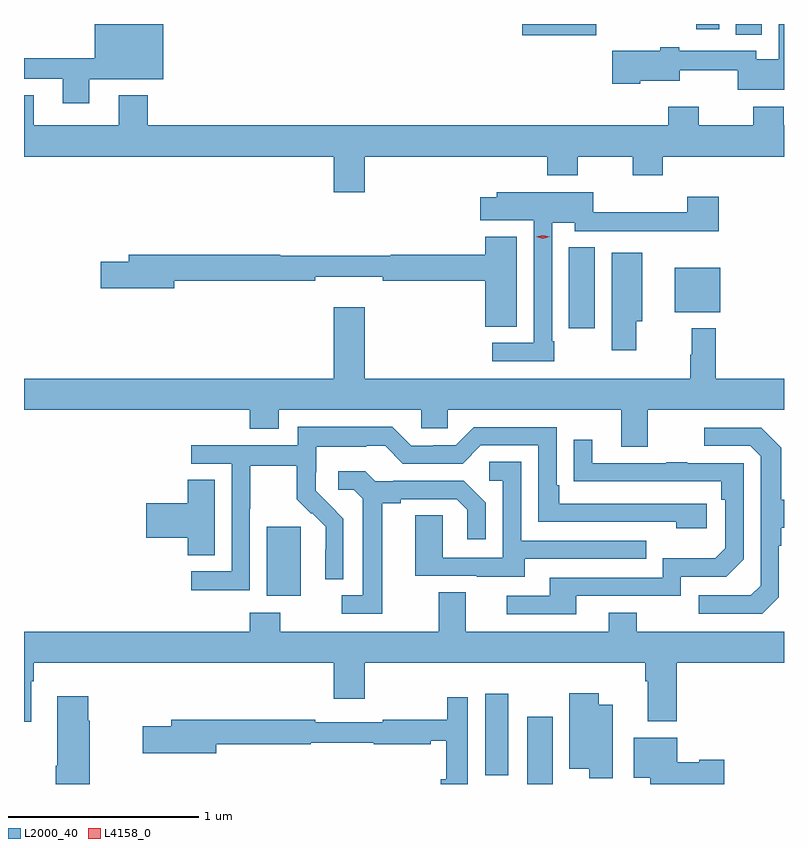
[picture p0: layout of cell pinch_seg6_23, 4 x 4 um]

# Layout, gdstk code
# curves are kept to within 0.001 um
import gdstk
lib = gdstk.Library(unit=1e-6, precision=1e-09)
def R(c, l, rs):  # rectangles x0, y0, x1, y1
    for r in rs: c.add(gdstk.rectangle(r[:2], r[2:], *l))
def P(c, l, *ps):  # polygons
    for p in ps: c.add(gdstk.Polygon(p, *l))
L2000_40 = (2000, 40)
L4158_0 = (4158, 0)

pinch_seg6_23 = lib.new_cell('pinch_seg6_23')
R(pinch_seg6_23, L2000_40, [(957.236,962.682,957.37,963.037), (957.014,962.727,957.136,963.157), (955.865,963.674,956.044,964.035), (957.455,965.082,957.592,965.507), (958.013,965.165,958.252,965.398), (957.21,966.622,957.598,966.682), (958.334,966.625,958.471,966.682), (958.124,966.654,958.246,966.682)])
P(pinch_seg6_23, L2000_40, [(958.587,966.682),(958.56,966.682),(958.56,966.496),(958.44,966.496),(958.44,966.54),(958.035,966.54),(958.035,966.56),(957.935,966.56),(957.935,966.541),(957.683,966.541),(957.683,966.368),(957.831,966.368),(957.831,966.383),(958.039,966.383),(958.039,966.439),(958.344,966.439),(958.344,966.335),(958.587,966.335)],
  [(954.931,966.392),(955.321,966.392),(955.321,966.682),(954.959,966.682),(954.959,966.502),(954.587,966.502),(954.587,966.393),(954.791,966.393),(954.791,966.264),(954.931,966.264)],
  [(955.085,966.307),(955.085,966.148),(954.637,966.148),(954.637,966.308),(954.587,966.308),(954.587,965.984),(956.216,965.984),(956.216,965.796),(956.38,965.796),(956.38,965.984),(957.341,965.984),(957.341,965.885),(957.501,965.885),(957.501,965.984),(957.79,965.984),(957.79,965.885),(957.95,965.885),(957.95,965.984),(958.587,965.984),(958.587,966.148),(958.586,966.148),(958.586,966.247),(958.426,966.247),(958.426,966.148),(958.137,966.148),(958.137,966.247),(957.977,966.247),(957.977,966.148),(955.238,966.148),(955.238,966.307)],
  [(957.379,965.011),(957.366,965.011),(957.366,965.636),(957.486,965.636),(957.486,965.592),(957.995,965.592),(957.995,965.591),(958.244,965.591),(958.244,965.773),(958.079,965.773),(958.079,965.69),(957.582,965.69),(957.582,965.797),(957.075,965.797),(957.075,965.77),(956.988,965.77),(956.988,965.648),(957.27,965.648),(957.27,965.004),(957.051,965.004),(957.051,964.908),(957.379,964.908)],
  [(957.181,965.563),(957.014,965.563),(957.014,965.468),(956.518,965.468),(956.518,965.461),(955.935,965.461),(955.935,965.468),(955.139,965.468),(955.139,965.432),(954.99,965.432),(954.99,965.29),(955.378,965.29),(955.378,965.332),(956.12,965.332),(956.12,965.351),(956.476,965.351),(956.476,965.332),(957.014,965.332),(957.014,965.089),(957.181,965.089)],
  [(957.81,965.117),(957.841,965.117),(957.841,965.479),(957.68,965.479),(957.68,964.965),(957.81,964.965)],
  [(957.871,964.652),(958.587,964.652),(958.587,964.816),(958.229,964.816),(958.229,965.08),(958.101,965.08),(958.101,964.94),(958.093,964.94),(958.093,964.816),(956.38,964.816),(956.38,965.191),(956.216,965.191),(956.216,964.816),(954.587,964.816),(954.587,964.652),(955.775,964.652),(955.775,964.553),(955.927,964.553),(955.927,964.652),(956.679,964.652),(956.679,964.554),(956.817,964.554),(956.817,964.652),(957.731,964.652),(957.731,964.458),(957.871,964.458)],
  [(955.776,964.132),(955.779,964.132),(955.779,964.356),(956.023,964.356),(956.023,964.181),(956.1,964.104),(956.103,964.107),(956.174,964.037),(956.174,963.914),(956.172,963.914),(956.172,963.76),(956.268,963.76),(956.268,964.078),(956.122,964.226),(956.122,964.323),(956.124,964.323),(956.124,964.457),(956.387,964.457),(956.387,964.461),(956.487,964.461),(956.58,964.368),(956.895,964.368),(956.991,964.464),(957.294,964.464),(957.294,964.062),(958.019,964.062),(958.019,964.028),(958.18,964.028),(958.18,964.158),(957.403,964.158),(957.403,964.255),(957.39,964.255),(957.39,964.56),(956.955,964.56),(956.859,964.464),(956.741,964.464),(956.741,964.461),(956.625,964.461),(956.525,964.561),(956.028,964.561),(956.028,964.464),(955.467,964.464),(955.467,964.368),(955.68,964.368),(955.68,963.801),(955.467,963.801),(955.467,963.703),(955.776,963.703)],
  [(958.56,963.666),(958.56,963.935),(958.573,963.935),(958.573,964.031),(958.587,964.031),(958.587,964.179),(958.573,964.179),(958.573,964.451),(958.467,964.557),(958.167,964.557),(958.167,964.461),(958.41,964.461),(958.464,964.407),(958.464,963.726),(958.413,963.675),(958.137,963.675),(958.137,963.579),(958.473,963.579)],
  [(957.493,963.672),(958.044,963.672),(958.044,963.774),(958.284,963.774),(958.374,963.864),(958.374,964.371),(958.079,964.371),(958.079,964.376),(957.967,964.376),(957.967,964.371),(957.577,964.371),(957.577,964.495),(957.481,964.495),(957.481,964.276),(958.258,964.275),(958.258,964.178),(958.278,964.178),(958.278,963.924),(958.225,963.871),(957.948,963.871),(957.948,963.768),(957.353,963.768),(957.353,963.672),(957.129,963.672),(957.129,963.576),(957.493,963.576)],
  [(957.223,963.867),(957.863,963.867),(957.863,963.963),(957.204,963.963),(957.204,964.379),(957.036,964.379),(957.036,964.278),(957.108,964.278),(957.108,963.873),(956.79,963.873),(956.79,964.097),(956.645,964.097),(956.645,963.777),(956.969,963.777),(956.969,963.773),(957.223,963.773)],
  [(956.473,964.16),(956.569,964.16),(956.569,964.182),(956.864,964.182),(956.921,964.125),(956.921,963.969),(957.018,963.969),(957.018,964.162),(956.902,964.278),(956.53,964.278),(956.53,964.275),(956.436,964.275),(956.384,964.327),(956.241,964.327),(956.241,964.23),(956.322,964.23),(956.369,964.183),(956.369,963.675),(956.259,963.675),(956.259,963.579),(956.473,963.579)],
  [(955.591,964.283),(955.448,964.283),(955.448,964.16),(955.23,964.16),(955.23,963.977),(955.448,963.977),(955.448,963.886),(955.591,963.886)],
  [(954.625,963.224),(954.638,963.224),(954.638,963.32),(956.216,963.32),(956.216,963.132),(956.38,963.132),(956.38,963.32),(957.857,963.32),(957.857,963.224),(957.869,963.224),(957.869,963.011),(958.022,963.011),(958.022,963.32),(958.587,963.32),(958.587,963.484),(957.813,963.484),(957.813,963.583),(957.665,963.583),(957.665,963.484),(956.911,963.484),(956.911,963.692),(956.771,963.692),(956.771,963.484),(955.935,963.484),(955.935,963.583),(955.775,963.583),(955.775,963.484),(954.587,963.484),(954.587,963.009),(954.625,963.009)],
  [(957.685,963.1),(957.613,963.1),(957.613,963.16),(957.458,963.16),(957.458,962.762),(957.563,962.762),(957.563,962.712),(957.685,962.712)],
  [(954.934,963.015),(954.924,963.015),(954.924,963.145),(954.761,963.145),(954.761,962.779),(954.754,962.779),(954.754,962.682),(954.934,962.682)],
  [(956.922,963.139),(956.814,963.139),(956.814,963.019),(956.476,963.019),(956.476,963.006),(956.12,963.006),(956.12,963.019),(955.361,963.019),(955.361,962.985),(955.212,962.985),(955.212,962.843),(955.6,962.843),(955.6,962.89),(956.096,962.89),(956.096,962.898),(956.429,962.898),(956.429,962.89),(956.729,962.89),(956.729,962.909),(956.81,962.909),(956.81,962.707),(956.78,962.707),(956.78,962.682),(956.922,962.682)],
  [(958.273,962.81),(958.14,962.81),(958.14,962.797),(958.024,962.797),(958.024,962.926),(957.797,962.926),(957.797,962.714),(957.884,962.714),(957.884,962.682),(958.273,962.682)])
P(pinch_seg6_23, L4158_0, [(957.318,965.551),(957.283,965.561),(957.283,965.561),(957.283,965.562),(957.318,965.571),(957.353,965.562),(957.353,965.561),(957.353,965.561)])

lib.write_gds('pinch_seg6_23.gds')
